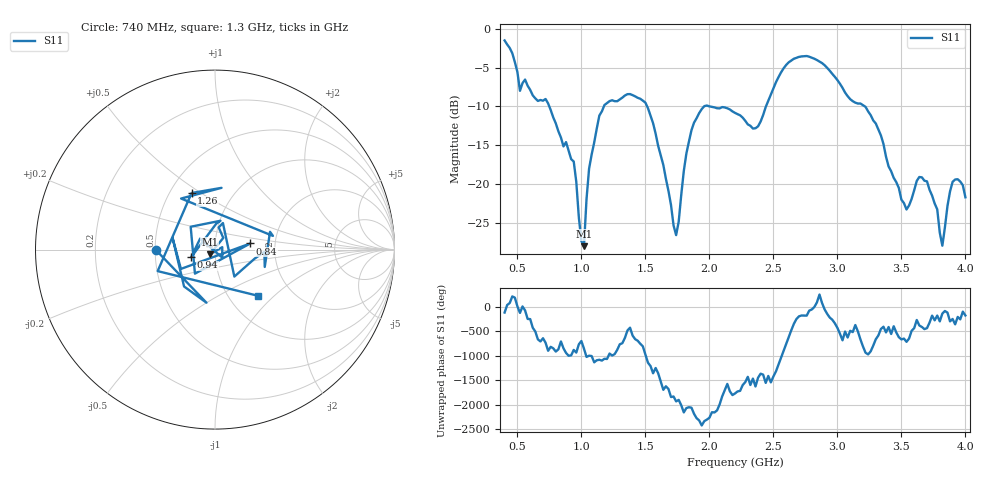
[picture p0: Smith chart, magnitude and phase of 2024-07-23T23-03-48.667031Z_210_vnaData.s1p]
!Created with skrf (http://scikit-rf.org).
# Hz S RI R 50.0
!freq ReS11 ImS11
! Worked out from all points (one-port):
!   181 points, 400 MHz to 4 GHz, reference 50 ohm
!   lowest |S11| = -28.0 dB at 1.02 GHz (marker M1), VSWR 1.08, Z = 47.1 - j2.55 ohm
!   |S11| at or under -10 dB: 1.513 GHz to 1.959 GHz (445.7 MHz wide, 25.7 % of centre); 1.999 GHz to 2.442 GHz (443.4 MHz wide, 20 % of centre); 3.214 GHz to end of sweep (the widest 3 of 4)
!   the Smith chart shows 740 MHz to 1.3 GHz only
!   S11 on the Smith chart (normalised r, x): 740 MHz: 0.50, -0.00; 840 MHz: 1.48, +0.11; 940 MHz: 0.76, -0.07; 1.26 GHz: 0.64, +0.46; 1.3 GHz: 1.36, -0.79
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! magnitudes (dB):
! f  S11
! 400 MHz  -1.5
! 520 MHz  -8.0
! 740 MHz  -9.6
! 840 MHz  -14.0
! 860 MHz  -15.2
! 940 MHz  -17.1
! 1 GHz  -27.4
! 1.02 GHz  -28.0
! 1.06 GHz  -18.0
! 1.14 GHz  -11.2
! 1.26 GHz  -9.3
! 1.3 GHz  -9.1
! 1.5 GHz  -9.5
! 1.74 GHz  -26.6
! 1.76 GHz  -24.9
! 1.82 GHz  -16.1
! 1.88 GHz  -12.1
! 2.2 GHz  -10.8
! 2.38 GHz  -12.6
! 2.66 GHz  -3.9
! 2.88 GHz  -4.4
! 3.1 GHz  -9.1
! 3.3 GHz  -12.2
! 3.56 GHz  -22.8
! 3.7 GHz  -19.7
! 3.82 GHz  -28.0
! 3.9 GHz  -19.7
! 4 GHz  -21.7
